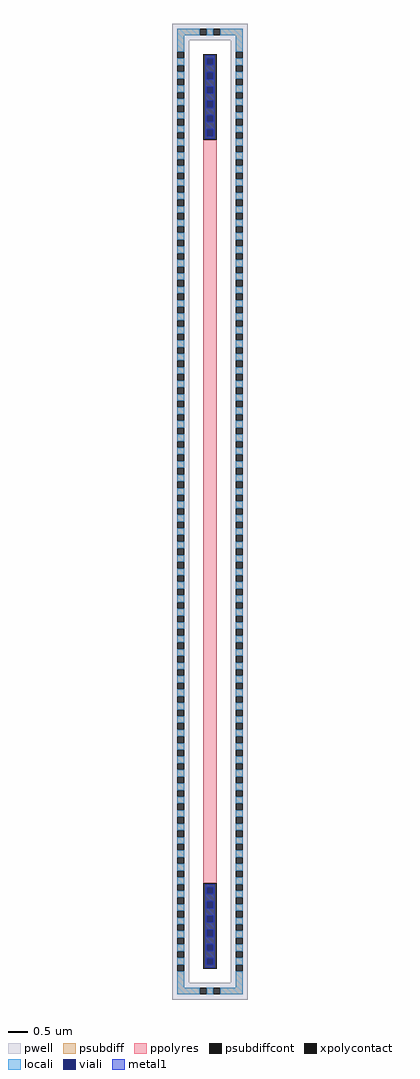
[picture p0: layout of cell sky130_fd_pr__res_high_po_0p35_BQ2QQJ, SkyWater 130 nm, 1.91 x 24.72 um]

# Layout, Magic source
magic
tech sky130A
magscale 1 2
<< pwell >>
rect -191 2386 191 2472
rect -191 -2386 -105 2386
rect 105 -2386 191 2386
rect -191 -2472 191 -2386
<< psubdiff >>
rect -165 2412 -51 2446
rect -17 2412 17 2446
rect 51 2412 165 2446
rect -165 2329 -131 2412
rect 131 2329 165 2412
rect -165 2261 -131 2295
rect -165 2193 -131 2227
rect -165 2125 -131 2159
rect -165 2057 -131 2091
rect -165 1989 -131 2023
rect -165 1921 -131 1955
rect -165 1853 -131 1887
rect -165 1785 -131 1819
rect -165 1717 -131 1751
rect -165 1649 -131 1683
rect -165 1581 -131 1615
rect -165 1513 -131 1547
rect -165 1445 -131 1479
rect -165 1377 -131 1411
rect -165 1309 -131 1343
rect -165 1241 -131 1275
rect -165 1173 -131 1207
rect -165 1105 -131 1139
rect -165 1037 -131 1071
rect -165 969 -131 1003
rect -165 901 -131 935
rect -165 833 -131 867
rect -165 765 -131 799
rect -165 697 -131 731
rect -165 629 -131 663
rect -165 561 -131 595
rect -165 493 -131 527
rect -165 425 -131 459
rect -165 357 -131 391
rect -165 289 -131 323
rect -165 221 -131 255
rect -165 153 -131 187
rect -165 85 -131 119
rect -165 17 -131 51
rect -165 -51 -131 -17
rect -165 -119 -131 -85
rect -165 -187 -131 -153
rect -165 -255 -131 -221
rect -165 -323 -131 -289
rect -165 -391 -131 -357
rect -165 -459 -131 -425
rect -165 -527 -131 -493
rect -165 -595 -131 -561
rect -165 -663 -131 -629
rect -165 -731 -131 -697
rect -165 -799 -131 -765
rect -165 -867 -131 -833
rect -165 -935 -131 -901
rect -165 -1003 -131 -969
rect -165 -1071 -131 -1037
rect -165 -1139 -131 -1105
rect -165 -1207 -131 -1173
rect -165 -1275 -131 -1241
rect -165 -1343 -131 -1309
rect -165 -1411 -131 -1377
rect -165 -1479 -131 -1445
rect -165 -1547 -131 -1513
rect -165 -1615 -131 -1581
rect -165 -1683 -131 -1649
rect -165 -1751 -131 -1717
rect -165 -1819 -131 -1785
rect -165 -1887 -131 -1853
rect -165 -1955 -131 -1921
rect -165 -2023 -131 -1989
rect -165 -2091 -131 -2057
rect -165 -2159 -131 -2125
rect -165 -2227 -131 -2193
rect -165 -2295 -131 -2261
rect 131 2261 165 2295
rect 131 2193 165 2227
rect 131 2125 165 2159
rect 131 2057 165 2091
rect 131 1989 165 2023
rect 131 1921 165 1955
rect 131 1853 165 1887
rect 131 1785 165 1819
rect 131 1717 165 1751
rect 131 1649 165 1683
rect 131 1581 165 1615
rect 131 1513 165 1547
rect 131 1445 165 1479
rect 131 1377 165 1411
rect 131 1309 165 1343
rect 131 1241 165 1275
rect 131 1173 165 1207
rect 131 1105 165 1139
rect 131 1037 165 1071
rect 131 969 165 1003
rect 131 901 165 935
rect 131 833 165 867
rect 131 765 165 799
rect 131 697 165 731
rect 131 629 165 663
rect 131 561 165 595
rect 131 493 165 527
rect 131 425 165 459
rect 131 357 165 391
rect 131 289 165 323
rect 131 221 165 255
rect 131 153 165 187
rect 131 85 165 119
rect 131 17 165 51
rect 131 -51 165 -17
rect 131 -119 165 -85
rect 131 -187 165 -153
rect 131 -255 165 -221
rect 131 -323 165 -289
rect 131 -391 165 -357
rect 131 -459 165 -425
rect 131 -527 165 -493
rect 131 -595 165 -561
rect 131 -663 165 -629
rect 131 -731 165 -697
rect 131 -799 165 -765
rect 131 -867 165 -833
rect 131 -935 165 -901
rect 131 -1003 165 -969
rect 131 -1071 165 -1037
rect 131 -1139 165 -1105
rect 131 -1207 165 -1173
rect 131 -1275 165 -1241
rect 131 -1343 165 -1309
rect 131 -1411 165 -1377
rect 131 -1479 165 -1445
rect 131 -1547 165 -1513
rect 131 -1615 165 -1581
rect 131 -1683 165 -1649
rect 131 -1751 165 -1717
rect 131 -1819 165 -1785
rect 131 -1887 165 -1853
rect 131 -1955 165 -1921
rect 131 -2023 165 -1989
rect 131 -2091 165 -2057
rect 131 -2159 165 -2125
rect 131 -2227 165 -2193
rect 131 -2295 165 -2261
rect -165 -2412 -131 -2329
rect 131 -2412 165 -2329
rect -165 -2446 -51 -2412
rect -17 -2446 17 -2412
rect 51 -2446 165 -2412
<< psubdiffcont >>
rect -51 2412 -17 2446
rect 17 2412 51 2446
rect -165 2295 -131 2329
rect -165 2227 -131 2261
rect -165 2159 -131 2193
rect -165 2091 -131 2125
rect -165 2023 -131 2057
rect -165 1955 -131 1989
rect -165 1887 -131 1921
rect -165 1819 -131 1853
rect -165 1751 -131 1785
rect -165 1683 -131 1717
rect -165 1615 -131 1649
rect -165 1547 -131 1581
rect -165 1479 -131 1513
rect -165 1411 -131 1445
rect -165 1343 -131 1377
rect -165 1275 -131 1309
rect -165 1207 -131 1241
rect -165 1139 -131 1173
rect -165 1071 -131 1105
rect -165 1003 -131 1037
rect -165 935 -131 969
rect -165 867 -131 901
rect -165 799 -131 833
rect -165 731 -131 765
rect -165 663 -131 697
rect -165 595 -131 629
rect -165 527 -131 561
rect -165 459 -131 493
rect -165 391 -131 425
rect -165 323 -131 357
rect -165 255 -131 289
rect -165 187 -131 221
rect -165 119 -131 153
rect -165 51 -131 85
rect -165 -17 -131 17
rect -165 -85 -131 -51
rect -165 -153 -131 -119
rect -165 -221 -131 -187
rect -165 -289 -131 -255
rect -165 -357 -131 -323
rect -165 -425 -131 -391
rect -165 -493 -131 -459
rect -165 -561 -131 -527
rect -165 -629 -131 -595
rect -165 -697 -131 -663
rect -165 -765 -131 -731
rect -165 -833 -131 -799
rect -165 -901 -131 -867
rect -165 -969 -131 -935
rect -165 -1037 -131 -1003
rect -165 -1105 -131 -1071
rect -165 -1173 -131 -1139
rect -165 -1241 -131 -1207
rect -165 -1309 -131 -1275
rect -165 -1377 -131 -1343
rect -165 -1445 -131 -1411
rect -165 -1513 -131 -1479
rect -165 -1581 -131 -1547
rect -165 -1649 -131 -1615
rect -165 -1717 -131 -1683
rect -165 -1785 -131 -1751
rect -165 -1853 -131 -1819
rect -165 -1921 -131 -1887
rect -165 -1989 -131 -1955
rect -165 -2057 -131 -2023
rect -165 -2125 -131 -2091
rect -165 -2193 -131 -2159
rect -165 -2261 -131 -2227
rect -165 -2329 -131 -2295
rect 131 2295 165 2329
rect 131 2227 165 2261
rect 131 2159 165 2193
rect 131 2091 165 2125
rect 131 2023 165 2057
rect 131 1955 165 1989
rect 131 1887 165 1921
rect 131 1819 165 1853
rect 131 1751 165 1785
rect 131 1683 165 1717
rect 131 1615 165 1649
rect 131 1547 165 1581
rect 131 1479 165 1513
rect 131 1411 165 1445
rect 131 1343 165 1377
rect 131 1275 165 1309
rect 131 1207 165 1241
rect 131 1139 165 1173
rect 131 1071 165 1105
rect 131 1003 165 1037
rect 131 935 165 969
rect 131 867 165 901
rect 131 799 165 833
rect 131 731 165 765
rect 131 663 165 697
rect 131 595 165 629
rect 131 527 165 561
rect 131 459 165 493
rect 131 391 165 425
rect 131 323 165 357
rect 131 255 165 289
rect 131 187 165 221
rect 131 119 165 153
rect 131 51 165 85
rect 131 -17 165 17
rect 131 -85 165 -51
rect 131 -153 165 -119
rect 131 -221 165 -187
rect 131 -289 165 -255
rect 131 -357 165 -323
rect 131 -425 165 -391
rect 131 -493 165 -459
rect 131 -561 165 -527
rect 131 -629 165 -595
rect 131 -697 165 -663
rect 131 -765 165 -731
rect 131 -833 165 -799
rect 131 -901 165 -867
rect 131 -969 165 -935
rect 131 -1037 165 -1003
rect 131 -1105 165 -1071
rect 131 -1173 165 -1139
rect 131 -1241 165 -1207
rect 131 -1309 165 -1275
rect 131 -1377 165 -1343
rect 131 -1445 165 -1411
rect 131 -1513 165 -1479
rect 131 -1581 165 -1547
rect 131 -1649 165 -1615
rect 131 -1717 165 -1683
rect 131 -1785 165 -1751
rect 131 -1853 165 -1819
rect 131 -1921 165 -1887
rect 131 -1989 165 -1955
rect 131 -2057 165 -2023
rect 131 -2125 165 -2091
rect 131 -2193 165 -2159
rect 131 -2261 165 -2227
rect 131 -2329 165 -2295
rect -51 -2446 -17 -2412
rect 17 -2446 51 -2412
<< xpolycontact >>
rect -35 1884 35 2316
rect -35 -2316 35 -1884
<< ppolyres >>
rect -35 -1884 35 1884
<< locali >>
rect -165 2412 -51 2446
rect -17 2412 17 2446
rect 51 2412 165 2446
rect -165 2329 -131 2412
rect 131 2329 165 2412
rect -165 2261 -131 2295
rect -165 2193 -131 2227
rect -165 2125 -131 2159
rect -165 2057 -131 2091
rect -165 1989 -131 2023
rect -165 1921 -131 1955
rect -165 1853 -131 1887
rect 131 2261 165 2295
rect 131 2193 165 2227
rect 131 2125 165 2159
rect 131 2057 165 2091
rect 131 1989 165 2023
rect 131 1921 165 1955
rect -165 1785 -131 1819
rect -165 1717 -131 1751
rect -165 1649 -131 1683
rect -165 1581 -131 1615
rect -165 1513 -131 1547
rect -165 1445 -131 1479
rect -165 1377 -131 1411
rect -165 1309 -131 1343
rect -165 1241 -131 1275
rect -165 1173 -131 1207
rect -165 1105 -131 1139
rect -165 1037 -131 1071
rect -165 969 -131 1003
rect -165 901 -131 935
rect -165 833 -131 867
rect -165 765 -131 799
rect -165 697 -131 731
rect -165 629 -131 663
rect -165 561 -131 595
rect -165 493 -131 527
rect -165 425 -131 459
rect -165 357 -131 391
rect -165 289 -131 323
rect -165 221 -131 255
rect -165 153 -131 187
rect -165 85 -131 119
rect -165 17 -131 51
rect -165 -51 -131 -17
rect -165 -119 -131 -85
rect -165 -187 -131 -153
rect -165 -255 -131 -221
rect -165 -323 -131 -289
rect -165 -391 -131 -357
rect -165 -459 -131 -425
rect -165 -527 -131 -493
rect -165 -595 -131 -561
rect -165 -663 -131 -629
rect -165 -731 -131 -697
rect -165 -799 -131 -765
rect -165 -867 -131 -833
rect -165 -935 -131 -901
rect -165 -1003 -131 -969
rect -165 -1071 -131 -1037
rect -165 -1139 -131 -1105
rect -165 -1207 -131 -1173
rect -165 -1275 -131 -1241
rect -165 -1343 -131 -1309
rect -165 -1411 -131 -1377
rect -165 -1479 -131 -1445
rect -165 -1547 -131 -1513
rect -165 -1615 -131 -1581
rect -165 -1683 -131 -1649
rect -165 -1751 -131 -1717
rect -165 -1819 -131 -1785
rect -165 -1887 -131 -1853
rect 131 1853 165 1887
rect 131 1785 165 1819
rect 131 1717 165 1751
rect 131 1649 165 1683
rect 131 1581 165 1615
rect 131 1513 165 1547
rect 131 1445 165 1479
rect 131 1377 165 1411
rect 131 1309 165 1343
rect 131 1241 165 1275
rect 131 1173 165 1207
rect 131 1105 165 1139
rect 131 1037 165 1071
rect 131 969 165 1003
rect 131 901 165 935
rect 131 833 165 867
rect 131 765 165 799
rect 131 697 165 731
rect 131 629 165 663
rect 131 561 165 595
rect 131 493 165 527
rect 131 425 165 459
rect 131 357 165 391
rect 131 289 165 323
rect 131 221 165 255
rect 131 153 165 187
rect 131 85 165 119
rect 131 17 165 51
rect 131 -51 165 -17
rect 131 -119 165 -85
rect 131 -187 165 -153
rect 131 -255 165 -221
rect 131 -323 165 -289
rect 131 -391 165 -357
rect 131 -459 165 -425
rect 131 -527 165 -493
rect 131 -595 165 -561
rect 131 -663 165 -629
rect 131 -731 165 -697
rect 131 -799 165 -765
rect 131 -867 165 -833
rect 131 -935 165 -901
rect 131 -1003 165 -969
rect 131 -1071 165 -1037
rect 131 -1139 165 -1105
rect 131 -1207 165 -1173
rect 131 -1275 165 -1241
rect 131 -1343 165 -1309
rect 131 -1411 165 -1377
rect 131 -1479 165 -1445
rect 131 -1547 165 -1513
rect 131 -1615 165 -1581
rect 131 -1683 165 -1649
rect 131 -1751 165 -1717
rect 131 -1819 165 -1785
rect -165 -1955 -131 -1921
rect -165 -2023 -131 -1989
rect -165 -2091 -131 -2057
rect -165 -2159 -131 -2125
rect -165 -2227 -131 -2193
rect -165 -2295 -131 -2261
rect 131 -1887 165 -1853
rect 131 -1955 165 -1921
rect 131 -2023 165 -1989
rect 131 -2091 165 -2057
rect 131 -2159 165 -2125
rect 131 -2227 165 -2193
rect 131 -2295 165 -2261
rect -165 -2412 -131 -2329
rect 131 -2412 165 -2329
rect -165 -2446 -51 -2412
rect -17 -2446 17 -2412
rect 51 -2446 165 -2412
<< viali >>
rect -17 2262 17 2296
rect -17 2190 17 2224
rect -17 2118 17 2152
rect -17 2046 17 2080
rect -17 1974 17 2008
rect -17 1902 17 1936
rect -17 -1937 17 -1903
rect -17 -2009 17 -1975
rect -17 -2081 17 -2047
rect -17 -2153 17 -2119
rect -17 -2225 17 -2191
rect -17 -2297 17 -2263
<< metal1 >>
rect -25 2296 25 2310
rect -25 2262 -17 2296
rect 17 2262 25 2296
rect -25 2224 25 2262
rect -25 2190 -17 2224
rect 17 2190 25 2224
rect -25 2152 25 2190
rect -25 2118 -17 2152
rect 17 2118 25 2152
rect -25 2080 25 2118
rect -25 2046 -17 2080
rect 17 2046 25 2080
rect -25 2008 25 2046
rect -25 1974 -17 2008
rect 17 1974 25 2008
rect -25 1936 25 1974
rect -25 1902 -17 1936
rect 17 1902 25 1936
rect -25 1889 25 1902
rect -25 -1903 25 -1889
rect -25 -1937 -17 -1903
rect 17 -1937 25 -1903
rect -25 -1975 25 -1937
rect -25 -2009 -17 -1975
rect 17 -2009 25 -1975
rect -25 -2047 25 -2009
rect -25 -2081 -17 -2047
rect 17 -2081 25 -2047
rect -25 -2119 25 -2081
rect -25 -2153 -17 -2119
rect 17 -2153 25 -2119
rect -25 -2191 25 -2153
rect -25 -2225 -17 -2191
rect 17 -2225 25 -2191
rect -25 -2263 25 -2225
rect -25 -2297 -17 -2263
rect 17 -2297 25 -2263
rect -25 -2310 25 -2297
<< properties >>
string FIXED_BBOX -148 -2429 148 2429
<< end >>
